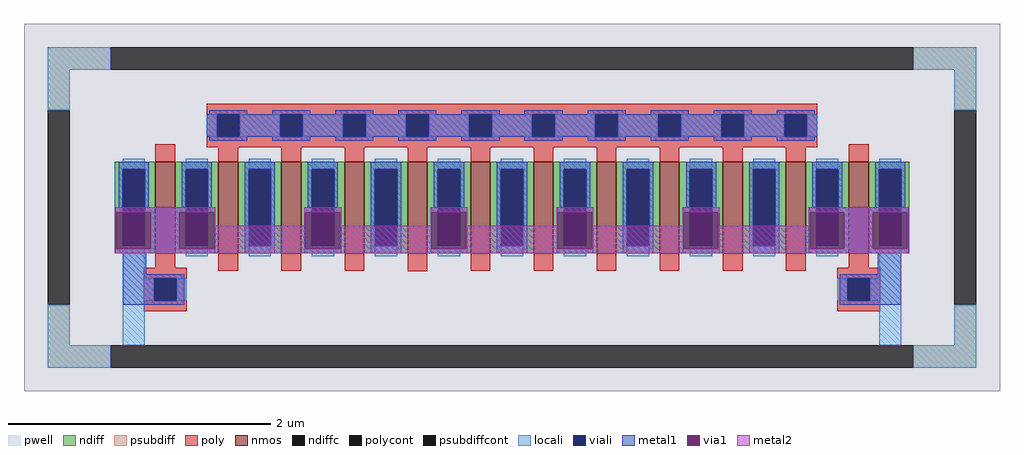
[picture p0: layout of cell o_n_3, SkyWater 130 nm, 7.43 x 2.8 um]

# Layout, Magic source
magic
tech sky130A
magscale 1 2
<< pwell >>
rect -743 -280 743 280
<< nmos >>
rect -543 -70 -513 70
rect -447 -70 -417 70
rect -351 -70 -321 70
rect -255 -70 -225 70
rect -159 -70 -129 70
rect -63 -70 -33 70
rect 33 -70 63 70
rect 129 -70 159 70
rect 225 -70 255 70
rect 321 -70 351 70
rect 417 -70 447 70
rect 513 -70 543 70
<< ndiff >>
rect -605 58 -543 70
rect -605 -58 -593 58
rect -559 -58 -543 58
rect -605 -70 -543 -58
rect -513 58 -447 70
rect -513 -58 -497 58
rect -463 -58 -447 58
rect -513 -70 -447 -58
rect -417 58 -351 70
rect -417 -58 -401 58
rect -367 -58 -351 58
rect -417 -70 -351 -58
rect -321 58 -255 70
rect -321 -58 -305 58
rect -271 -58 -255 58
rect -321 -70 -255 -58
rect -225 58 -159 70
rect -225 -58 -209 58
rect -175 -58 -159 58
rect -225 -70 -159 -58
rect -129 58 -63 70
rect -129 -58 -113 58
rect -79 -58 -63 58
rect -129 -70 -63 -58
rect -33 58 33 70
rect -33 -58 -17 58
rect 17 -58 33 58
rect -33 -70 33 -58
rect 63 58 129 70
rect 63 -58 79 58
rect 113 -58 129 58
rect 63 -70 129 -58
rect 159 58 225 70
rect 159 -58 175 58
rect 209 -58 225 58
rect 159 -70 225 -58
rect 255 58 321 70
rect 255 -58 271 58
rect 305 -58 321 58
rect 255 -70 321 -58
rect 351 58 417 70
rect 351 -58 367 58
rect 401 -58 417 58
rect 351 -70 417 -58
rect 447 58 513 70
rect 447 -58 463 58
rect 497 -58 513 58
rect 447 -70 513 -58
rect 543 58 605 70
rect 543 -58 559 58
rect 593 -58 605 58
rect 543 -70 605 -58
<< ndiffc >>
rect -593 -58 -559 58
rect -497 -58 -463 58
rect -401 -58 -367 58
rect -305 -58 -271 58
rect -209 -58 -175 58
rect -113 -58 -79 58
rect -17 -58 17 58
rect 79 -58 113 58
rect 175 -58 209 58
rect 271 -58 305 58
rect 367 -58 401 58
rect 463 -58 497 58
rect 559 -58 593 58
<< psubdiff >>
rect -707 210 -611 244
rect 611 210 707 244
rect -707 148 -673 210
rect 673 148 707 210
rect -707 -210 -673 -148
rect 673 -210 707 -148
rect -707 -244 -611 -210
rect 611 -244 707 -210
<< psubdiffcont >>
rect -611 210 611 244
rect -707 -148 -673 148
rect 673 -148 707 148
rect -611 -244 611 -210
<< poly >>
rect -465 142 465 158
rect -465 108 -449 142
rect -415 108 -353 142
rect -319 108 -257 142
rect -223 108 -161 142
rect -127 108 -65 142
rect -31 108 31 142
rect 65 108 127 142
rect 161 108 223 142
rect 257 108 319 142
rect 353 108 415 142
rect 449 108 465 142
rect -543 70 -513 96
rect -465 92 465 108
rect -447 70 -417 92
rect -351 70 -321 92
rect -255 70 -225 92
rect -159 70 -129 92
rect -63 70 -33 92
rect 33 70 63 92
rect 129 70 159 92
rect 225 70 255 92
rect 321 70 351 92
rect 417 70 447 92
rect 513 70 543 96
rect -543 -92 -513 -70
rect -561 -108 -495 -92
rect -447 -96 -417 -70
rect -351 -96 -321 -70
rect -255 -96 -225 -70
rect -159 -97 -129 -70
rect -63 -96 -33 -70
rect 33 -96 63 -70
rect 129 -96 159 -70
rect 225 -96 255 -70
rect 321 -96 351 -70
rect 417 -96 447 -70
rect 513 -92 543 -70
rect -561 -142 -545 -108
rect -511 -142 -495 -108
rect -561 -158 -495 -142
rect 495 -108 561 -92
rect 495 -142 511 -108
rect 545 -142 561 -108
rect 495 -158 561 -142
<< polycont >>
rect -449 108 -415 142
rect -353 108 -319 142
rect -257 108 -223 142
rect -161 108 -127 142
rect -65 108 -31 142
rect 31 108 65 142
rect 127 108 161 142
rect 223 108 257 142
rect 319 108 353 142
rect 415 108 449 142
rect -545 -142 -511 -108
rect 511 -142 545 -108
<< locali >>
rect -707 210 -611 244
rect 611 210 707 244
rect -707 148 -673 210
rect 673 148 707 210
rect -465 108 -449 142
rect -415 108 -353 142
rect -319 108 -257 142
rect -223 108 -161 142
rect -127 108 -65 142
rect -31 108 31 142
rect 65 108 127 142
rect 161 108 223 142
rect 257 108 319 142
rect 353 108 415 142
rect 449 108 465 142
rect -707 -210 -673 -148
rect -593 58 -559 74
rect -593 -108 -559 -58
rect -497 58 -463 74
rect -497 -74 -463 -58
rect -401 58 -367 74
rect -401 -74 -367 -58
rect -305 58 -271 74
rect -305 -74 -271 -58
rect -209 58 -175 74
rect -209 -74 -175 -58
rect -113 58 -79 74
rect -113 -74 -79 -58
rect -17 58 17 74
rect -17 -74 17 -58
rect 79 58 113 74
rect 79 -74 113 -58
rect 175 58 209 74
rect 175 -74 209 -58
rect 271 58 305 74
rect 271 -74 305 -58
rect 367 58 401 74
rect 367 -74 401 -58
rect 463 58 497 74
rect 463 -74 497 -58
rect 559 58 593 74
rect 559 -108 593 -58
rect -593 -142 -545 -108
rect -511 -142 -495 -108
rect 495 -142 511 -108
rect 545 -142 593 -108
rect -593 -210 -559 -142
rect 559 -210 593 -142
rect 673 -210 707 -148
rect -707 -244 -611 -210
rect 611 -244 707 -210
<< viali >>
rect -449 108 -415 142
rect -353 108 -319 142
rect -257 108 -223 142
rect -161 108 -127 142
rect -65 108 -31 142
rect 31 108 65 142
rect 127 108 161 142
rect 223 108 257 142
rect 319 108 353 142
rect 415 108 449 142
rect -593 -58 -559 58
rect -497 -58 -463 58
rect -401 -58 -367 58
rect -305 -58 -271 58
rect -209 -58 -175 58
rect -113 -58 -79 58
rect -17 -58 17 58
rect 79 -58 113 58
rect 175 -58 209 58
rect 271 -58 305 58
rect 367 -58 401 58
rect 463 -58 497 58
rect 559 -58 593 58
rect -545 -142 -511 -108
rect 511 -142 545 -108
<< metal1 >>
rect -461 142 -403 148
rect -365 142 -307 148
rect -269 142 -211 148
rect -173 142 -115 148
rect -77 142 -19 148
rect 19 142 77 148
rect 115 142 173 148
rect 211 142 269 148
rect 307 142 365 148
rect 403 142 461 148
rect -465 108 -449 142
rect -415 108 -353 142
rect -319 108 -257 142
rect -223 108 -161 142
rect -127 108 -65 142
rect -31 108 31 142
rect 65 108 127 142
rect 161 108 223 142
rect 257 108 319 142
rect 353 108 415 142
rect 449 108 465 142
rect -461 102 -403 108
rect -365 102 -307 108
rect -269 102 -211 108
rect -173 102 -115 108
rect -77 102 -19 108
rect 19 102 77 108
rect 115 102 173 108
rect 211 102 269 108
rect 307 102 365 108
rect 403 102 461 108
rect -599 58 -553 70
rect -599 0 -593 58
rect -604 -7 -593 0
rect -559 0 -553 58
rect -503 58 -457 70
rect -503 0 -497 58
rect -559 -7 -497 0
rect -463 0 -457 58
rect -407 58 -361 70
rect -463 -7 -452 0
rect -604 -63 -603 -7
rect -550 -63 -507 -7
rect -454 -63 -452 -7
rect -604 -70 -452 -63
rect -407 -58 -401 58
rect -367 -58 -361 58
rect -311 58 -265 70
rect -311 0 -305 58
rect -407 -70 -361 -58
rect -316 -7 -305 0
rect -271 0 -265 58
rect -215 58 -169 70
rect -271 -7 -260 0
rect -316 -63 -315 -7
rect -262 -63 -260 -7
rect -316 -70 -260 -63
rect -215 -58 -209 58
rect -175 -58 -169 58
rect -119 58 -73 70
rect -119 0 -113 58
rect -215 -70 -169 -58
rect -124 -7 -113 0
rect -79 0 -73 58
rect -23 58 23 70
rect -79 -7 -68 0
rect -124 -63 -123 -7
rect -70 -63 -68 -7
rect -124 -70 -68 -63
rect -23 -58 -17 58
rect 17 -58 23 58
rect 73 58 119 70
rect 73 0 79 58
rect -23 -70 23 -58
rect 68 -7 79 0
rect 113 0 119 58
rect 169 58 215 70
rect 113 -7 124 0
rect 68 -63 69 -7
rect 122 -63 124 -7
rect 68 -70 124 -63
rect 169 -58 175 58
rect 209 -58 215 58
rect 265 58 311 70
rect 265 0 271 58
rect 169 -70 215 -58
rect 260 -7 271 0
rect 305 0 311 58
rect 361 58 407 70
rect 305 -7 316 0
rect 260 -63 261 -7
rect 314 -63 316 -7
rect 260 -70 316 -63
rect 361 -58 367 58
rect 401 -58 407 58
rect 457 58 503 70
rect 457 0 463 58
rect 361 -70 407 -58
rect 452 -7 463 0
rect 497 0 503 58
rect 553 58 599 70
rect 553 0 559 58
rect 497 -7 559 0
rect 593 0 599 58
rect 593 -7 604 0
rect 452 -63 453 -7
rect 506 -63 549 -7
rect 602 -63 604 -7
rect 452 -70 604 -63
rect -593 -102 -557 -70
rect 557 -102 593 -70
rect -593 -108 -499 -102
rect -593 -142 -545 -108
rect -511 -142 -499 -108
rect -593 -148 -499 -142
rect 499 -108 593 -102
rect 499 -142 511 -108
rect 545 -142 593 -108
rect 499 -148 593 -142
<< via1 >>
rect -603 -58 -593 -7
rect -593 -58 -559 -7
rect -559 -58 -550 -7
rect -603 -63 -550 -58
rect -507 -58 -497 -7
rect -497 -58 -463 -7
rect -463 -58 -454 -7
rect -507 -63 -454 -58
rect -315 -58 -305 -7
rect -305 -58 -271 -7
rect -271 -58 -262 -7
rect -315 -63 -262 -58
rect -123 -58 -113 -7
rect -113 -58 -79 -7
rect -79 -58 -70 -7
rect -123 -63 -70 -58
rect 69 -58 79 -7
rect 79 -58 113 -7
rect 113 -58 122 -7
rect 69 -63 122 -58
rect 261 -58 271 -7
rect 271 -58 305 -7
rect 305 -58 314 -7
rect 261 -63 314 -58
rect 453 -58 463 -7
rect 463 -58 497 -7
rect 497 -58 506 -7
rect 453 -63 506 -58
rect 549 -58 559 -7
rect 559 -58 593 -7
rect 593 -58 602 -7
rect 549 -63 602 -58
<< metal2 >>
rect -604 -7 -452 0
rect -604 -63 -603 -7
rect -550 -63 -507 -7
rect -454 -28 -452 -7
rect -316 -7 -260 0
rect -316 -28 -315 -7
rect -454 -63 -315 -28
rect -262 -28 -260 -7
rect -124 -7 -68 0
rect -124 -28 -123 -7
rect -262 -63 -123 -28
rect -70 -28 -68 -7
rect 68 -7 124 0
rect 68 -28 69 -7
rect -70 -63 69 -28
rect 122 -28 124 -7
rect 260 -7 316 0
rect 260 -28 261 -7
rect 122 -63 261 -28
rect 314 -28 316 -7
rect 452 -7 604 0
rect 452 -28 453 -7
rect 314 -63 453 -28
rect 506 -63 549 -7
rect 602 -63 604 -7
rect -604 -70 604 -63
<< properties >>
string FIXED_BBOX -690 -227 690 227
string gencell sky130_fd_pr__nfet_01v8
string library sky130
string parameters w 0.7 l 0.150 m 1 nf 12 diffcov 100 polycov 100 guard 1 glc 1 grc 1 gtc 1 gbc 1 tbcov 100 rlcov 100 topc 1 botc 1 poverlap 0 doverlap 1 lmin 0.15 wmin 0.42 compatible {sky130_fd_pr__nfet_01v8 sky130_fd_pr__nfet_01v8_lvt  sky130_fd_bs_flash__special_sonosfet_star  sky130_fd_pr__nfet_g5v0d10v5 sky130_fd_pr__nfet_05v0_nvt  sky130_fd_pr__nfet_03v3_nvt} full_metal 1 viasrc 100 viadrn 100 viagate 100 viagb 0 viagr 0 viagl 0 viagt 0
<< end >>
